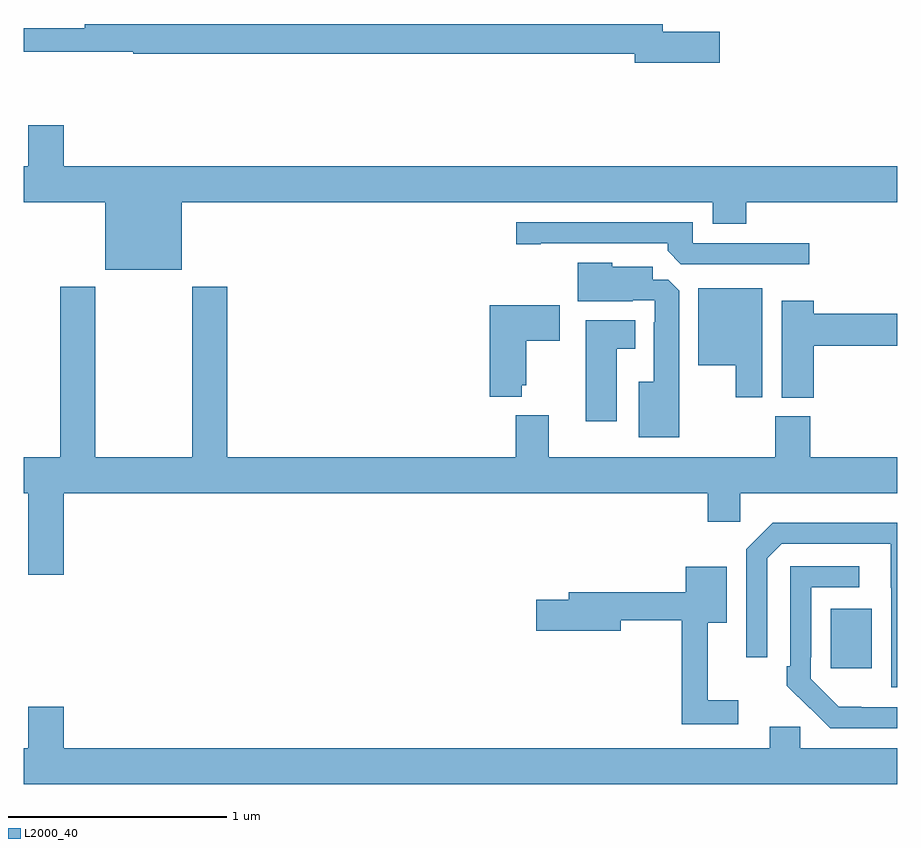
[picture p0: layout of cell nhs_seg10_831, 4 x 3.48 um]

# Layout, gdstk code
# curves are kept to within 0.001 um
import gdstk
lib = gdstk.Library(unit=1e-6, precision=1e-09)
def R(c, l, rs):  # rectangles x0, y0, x1, y1
    for r in rs: c.add(gdstk.rectangle(r[:2], r[2:], *l))
def P(c, l, *ps):  # polygons
    for p in ps: c.add(gdstk.Polygon(p, *l))
L2000_40 = (2000, 40)

nhs_seg10_831 = lib.new_cell('nhs_seg10_831')
R(nhs_seg10_831, L2000_40, [(156.695,1267.545,156.883,1267.819)])
P(nhs_seg10_831, L2000_40, [(156.187,1270.46),(155.926,1270.46),(155.926,1270.496),(153.28,1270.496),(153.28,1270.477),(153,1270.477),(153,1270.368),(153.502,1270.368),(153.502,1270.36),(155.798,1270.36),(155.798,1270.318),(156.187,1270.318)],
  [(153.724,1269.68),(156.155,1269.68),(156.155,1269.581),(156.308,1269.581),(156.308,1269.68),(157,1269.68),(157,1269.844),(153.184,1269.844),(153.184,1270.033),(153.02,1270.033),(153.02,1269.844),(153,1269.844),(153,1269.68),(153.374,1269.68),(153.374,1269.371),(153.724,1269.371)],
  [(156.598,1269.492),(156.063,1269.492),(156.063,1269.588),(155.256,1269.588),(155.256,1269.487),(155.368,1269.487),(155.368,1269.492),(155.948,1269.492),(155.948,1269.458),(156.009,1269.396),(156.598,1269.396)],
  [(156.001,1269.275),(155.952,1269.324),(155.881,1269.324),(155.881,1269.385),(155.694,1269.385),(155.694,1269.403),(155.537,1269.403),(155.537,1269.227),(155.789,1269.227),(155.789,1269.231),(155.889,1269.231),(155.889,1269.131),(155.885,1269.131),(155.885,1268.857),(155.816,1268.857),(155.816,1268.603),(156.001,1268.603)],
  [(153.184,1268.348),(156.131,1268.348),(156.131,1268.217),(156.282,1268.217),(156.282,1268.348),(157,1268.348),(157,1268.512),(156.602,1268.512),(156.602,1268.7),(156.442,1268.7),(156.442,1268.512),(155.404,1268.512),(155.404,1268.704),(155.252,1268.704),(155.252,1268.512),(153.932,1268.512),(153.932,1269.292),(153.772,1269.292),(153.772,1268.512),(153.327,1268.512),(153.327,1269.292),(153.167,1269.292),(153.167,1268.512),(153,1268.512),(153,1268.348),(153.02,1268.348),(153.02,1267.974),(153.184,1267.974)],
  [(156.382,1269.286),(156.089,1269.286),(156.089,1268.933),(156.26,1268.933),(156.26,1268.787),(156.382,1268.787)],
  [(156.617,1269.023),(157,1269.023),(157,1269.17),(156.617,1269.17),(156.617,1269.229),(156.47,1269.229),(156.47,1268.785),(156.617,1268.785)],
  [(155.28,1268.843),(155.302,1268.843),(155.302,1269.046),(155.455,1269.046),(155.455,1269.208),(155.135,1269.208),(155.135,1268.789),(155.28,1268.789)],
  [(155.716,1269.008),(155.8,1269.008),(155.8,1269.139),(155.573,1269.139),(155.573,1268.676),(155.716,1268.676)],
  [(157,1268.212),(156.43,1268.212),(156.309,1268.091),(156.309,1267.596),(156.405,1267.596),(156.405,1268.049),(156.471,1268.115),(156.971,1268.115),(156.971,1267.915),(156.972,1267.915),(156.972,1267.458),(157,1267.458)],
  [(157,1267.368),(156.732,1267.369),(156.603,1267.497),(156.603,1267.597),(156.606,1267.597),(156.606,1267.917),(156.826,1267.917),(156.826,1268.013),(156.51,1268.013),(156.51,1267.555),(156.495,1267.555),(156.495,1267.467),(156.692,1267.272),(157,1267.272)],
  [(156.271,1267.399),(156.131,1267.399),(156.131,1267.754),(156.22,1267.754),(156.22,1268.011),(156.032,1268.011),(156.032,1267.894),(155.495,1267.894),(155.495,1267.86),(155.346,1267.86),(155.346,1267.718),(155.734,1267.718),(155.734,1267.765),(156.013,1267.765),(156.013,1267.29),(156.271,1267.29)],
  [(157,1267.18),(156.555,1267.18),(156.555,1267.278),(156.416,1267.278),(156.416,1267.18),(153.184,1267.18),(153.184,1267.369),(153.02,1267.369),(153.02,1267.18),(153,1267.18),(153,1267.016),(157,1267.016)])

lib.write_gds('nhs_seg10_831.gds')
